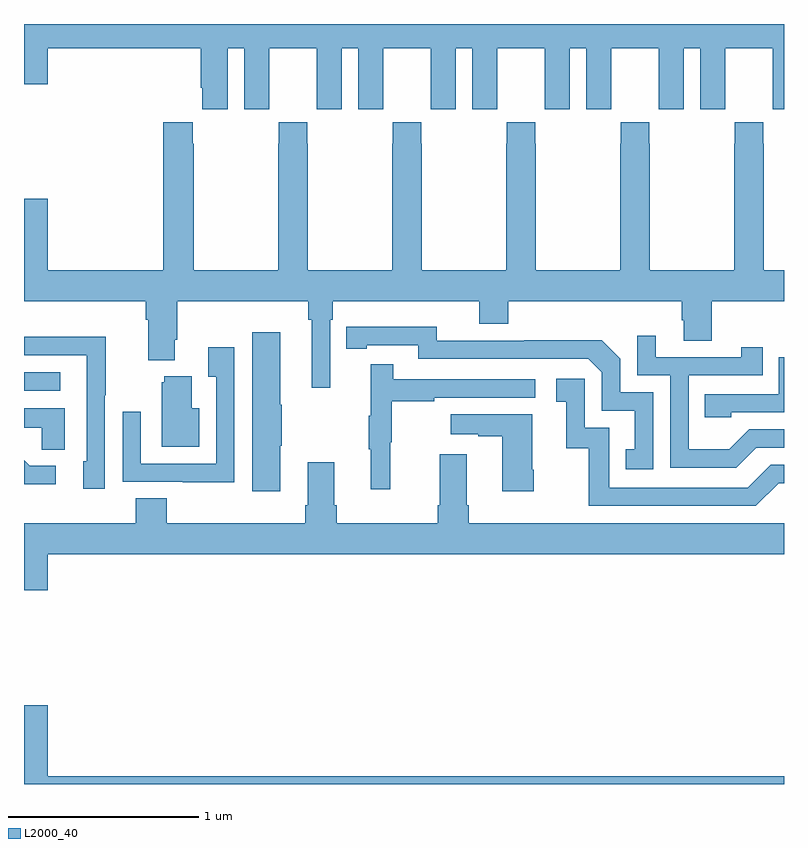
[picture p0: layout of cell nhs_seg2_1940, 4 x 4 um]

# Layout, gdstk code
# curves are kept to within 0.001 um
import gdstk
lib = gdstk.Library(unit=1e-6, precision=1e-09)
def R(c, l, rs):  # rectangles x0, y0, x1, y1
    for r in rs: c.add(gdstk.rectangle(r[:2], r[2:], *l))
def P(c, l, *ps):  # polygons
    for p in ps: c.add(gdstk.Polygon(p, *l))
L2000_40 = (2000, 40)

nhs_seg2_1940 = lib.new_cell('nhs_seg2_1940')
R(nhs_seg2_1940, L2000_40, [(213,609.87,213.19,609.966)])
P(nhs_seg2_1940, L2000_40, [(213,611.484),(213.124,611.484),(213.124,611.672),(213.929,611.672),(213.929,611.464),(213.938,611.464),(213.938,611.352),(214.072,611.352),(214.072,611.672),(214.16,611.672),(214.16,611.352),(214.29,611.352),(214.29,611.464),(214.291,611.464),(214.291,611.672),(214.541,611.672),(214.541,611.464),(214.542,611.464),(214.542,611.352),(214.672,611.352),(214.672,611.672),(214.76,611.672),(214.76,611.352),(214.89,611.352),(214.89,611.464),(214.891,611.464),(214.891,611.672),(215.141,611.672),(215.141,611.464),(215.142,611.464),(215.142,611.352),(215.272,611.352),(215.272,611.672),(215.36,611.672),(215.36,611.352),(215.49,611.352),(215.49,611.464),(215.491,611.464),(215.491,611.672),(215.741,611.672),(215.741,611.464),(215.742,611.464),(215.742,611.352),(215.872,611.352),(215.872,611.672),(215.96,611.672),(215.96,611.352),(216.09,611.352),(216.09,611.464),(216.091,611.464),(216.091,611.672),(216.341,611.672),(216.341,611.464),(216.342,611.464),(216.342,611.352),(216.472,611.352),(216.472,611.672),(216.56,611.672),(216.56,611.352),(216.69,611.352),(216.69,611.464),(216.691,611.464),(216.691,611.672),(216.941,611.672),(216.941,611.464),(216.942,611.464),(216.942,611.352),(217,611.352),(217,611.8),(213,611.8)],
  [(213,610.879),(213,610.34),(213.641,610.34),(213.641,610.244),(213.653,610.244),(213.653,610.031),(213.793,610.031),(213.793,610.138),(213.806,610.138),(213.806,610.34),(214.495,610.34),(214.495,610.244),(214.514,610.244),(214.514,609.885),(214.611,609.885),(214.611,610.244),(214.625,610.244),(214.625,610.34),(215.396,610.34),(215.396,610.223),(215.549,610.223),(215.549,610.34),(216.461,610.34),(216.461,610.242),(216.473,610.242),(216.473,610.132),(216.621,610.132),(216.621,610.34),(217,610.34),(217,610.504),(216.894,610.504),(216.894,611.171),(216.891,611.171),(216.891,611.284),(216.741,611.284),(216.741,611.171),(216.739,611.171),(216.739,610.504),(216.294,610.504),(216.294,611.171),(216.291,611.171),(216.291,611.284),(216.141,611.284),(216.141,611.171),(216.139,611.171),(216.139,610.504),(215.694,610.504),(215.694,611.171),(215.691,611.171),(215.691,611.284),(215.541,611.284),(215.541,611.171),(215.539,611.171),(215.539,610.504),(215.094,610.504),(215.094,611.171),(215.091,611.171),(215.091,611.284),(214.941,611.284),(214.941,611.171),(214.939,611.171),(214.939,610.504),(214.494,610.504),(214.494,611.171),(214.491,611.171),(214.491,611.284),(214.341,611.284),(214.341,611.171),(214.339,611.171),(214.339,610.504),(213.894,610.504),(213.894,611.171),(213.887,611.171),(213.887,611.284),(213.734,611.284),(213.734,610.504),(213.124,610.504),(213.124,610.879)],
  [(216.312,609.861),(216.138,609.861),(216.138,610.038),(216.04,610.136),(215.632,610.136),(215.632,610.134),(215.172,610.134),(215.172,610.207),(214.696,610.206),(214.696,610.09),(214.804,610.09),(214.804,610.11),(215.076,610.11),(215.076,610.038),(215.97,610.038),(216.042,609.966),(216.042,609.765),(216.215,609.765),(216.215,609.561),(216.166,609.561),(216.166,609.456),(216.312,609.456)],
  [(214.348,609.58),(214.356,609.58),(214.356,609.797),(214.348,609.797),(214.348,610.177),(214.202,610.177),(214.202,609.342),(214.348,609.342)],
  [(216.853,609.57),(217,609.57),(217,609.666),(216.816,609.666),(216.712,609.562),(216.498,609.562),(216.498,609.951),(216.887,609.951),(216.887,610.099),(216.776,610.099),(216.776,610.047),(216.325,610.047),(216.325,610.159),(216.228,610.159),(216.228,609.951),(216.402,609.951),(216.402,609.465),(216.748,609.465)],
  [(213.426,609.847),(213.429,609.847),(213.429,610.154),(213,610.154),(213,610.056),(213.33,610.056),(213.33,609.498),(213.311,609.498),(213.311,609.354),(213.426,609.354)],
  [(214.107,610.099),(213.971,610.099),(213.971,609.943),(214.011,609.943),(214.011,609.486),(213.615,609.486),(213.615,609.76),(213.519,609.76),(213.519,609.39),(213.835,609.39),(213.835,609.389),(214.107,609.389)],
  [(216.723,609.756),(217,609.756),(217,610.047),(216.972,610.047),(216.972,609.852),(216.583,609.852),(216.583,609.729),(216.723,609.729)],
  [(214.928,609.6),(214.936,609.6),(214.936,609.814),(215.159,609.814),(215.159,609.834),(215.692,609.834),(215.692,609.93),(214.943,609.93),(214.943,610.009),(214.826,610.009),(214.826,609.737),(214.815,609.737),(214.815,609.563),(214.826,609.563),(214.826,609.351),(214.928,609.351)],
  [(213.922,609.778),(213.883,609.778),(213.883,609.946),(213.737,609.946),(213.737,609.915),(213.725,609.915),(213.725,609.575),(213.922,609.575)],
  [(216.972,609.384),(217,609.384),(217,609.48),(216.93,609.48),(216.81,609.36),(216.081,609.36),(216.081,609.675),(215.952,609.675),(215.952,609.934),(215.802,609.934),(215.802,609.813),(215.855,609.813),(215.855,609.567),(215.973,609.567),(215.973,609.264),(216.852,609.264)],
  [(213.214,609.778),(213,609.778),(213,609.674),(213.093,609.674),(213.093,609.559),(213.214,609.559)],
  [(215.682,609.454),(215.674,609.454),(215.674,609.745),(215.247,609.745),(215.247,609.641),(215.39,609.641),(215.39,609.631),(215.516,609.631),(215.516,609.342),(215.682,609.342)],
  [(213.124,609.008),(217,609.008),(217,609.172),(215.342,609.172),(215.342,609.268),(215.329,609.268),(215.329,609.535),(215.189,609.535),(215.189,609.268),(215.177,609.268),(215.177,609.172),(214.646,609.172),(214.646,609.268),(214.633,609.268),(214.633,609.493),(214.493,609.493),(214.493,609.268),(214.481,609.268),(214.481,609.172),(213.752,609.172),(213.752,609.305),(213.587,609.305),(213.587,609.172),(213,609.172),(213,608.82),(213.124,608.82)],
  [(213.166,609.474),(213.031,609.474),(213,609.505),(213,609.377),(213.166,609.377)],
  [(217,607.84),(213.124,607.84),(213.124,608.215),(213,608.215),(213,607.8),(217,607.8)])

lib.write_gds('nhs_seg2_1940.gds')
